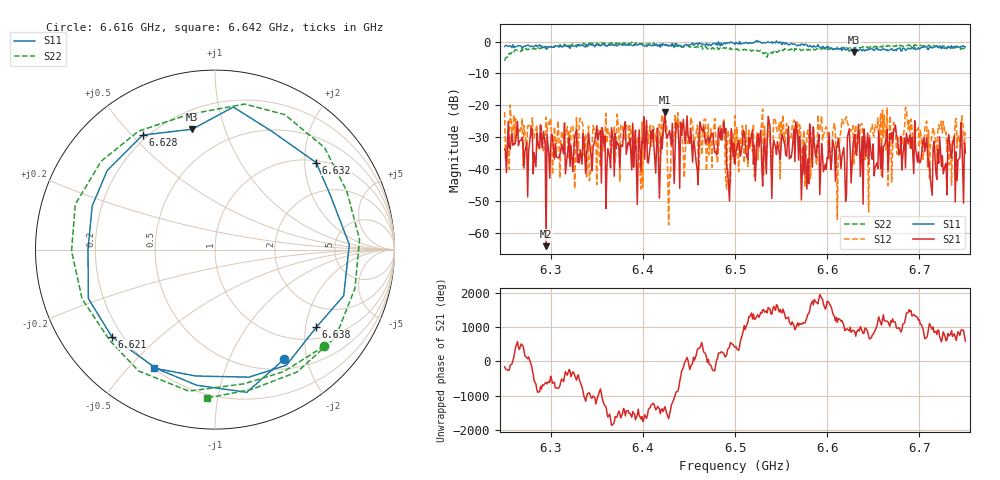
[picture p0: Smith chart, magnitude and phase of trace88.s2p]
# Hz S RI R 50
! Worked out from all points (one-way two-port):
!   401 points, 6.25 GHz to 6.75 GHz, reference 50 ohm
!   highest |S21| = -22.04 dB at 6.424 GHz (marker M1); lowest = -64.1 dB at 6.295 GHz (marker M2)
!   lowest |S11| = -3.3 dB at 6.629 GHz (marker M3), VSWR 5.30, Z = 15.5 + j39 ohm
!   |S11| at or under -10 dB: nowhere
!   |S22| runs from -6.0 to -0.2 dB; largest |S21 - S12| = 0.13
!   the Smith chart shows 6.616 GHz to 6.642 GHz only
!   S11 on the Smith chart (normalised r, x): 6.616 GHz: 0.64, -1.63; 6.621 GHz: 0.16, -0.36; 6.628 GHz: 0.18, +0.54; 6.632 GHz: 1.05, +2.28; 6.638 GHz: 1.31, -2.30; 6.642 GHz: 0.20, -0.59
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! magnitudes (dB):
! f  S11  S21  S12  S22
! 6.25 GHz  -1.6  -33.6  -22.0  -6.0
! 6.295 GHz  -2.4  -64.1  -23.7  -1.9
! 6.334 GHz  -1.0  -38.4  -25.1  -0.5
! 6.341 GHz  -0.7  -28.9  -26.5  -0.7
! 6.418 GHz  -1.0  -49.1  -25.9  -1.5
! 6.424 GHz  -1.1  -22.0  -25.5  -1.2
! 6.43 GHz  -1.1  -30.3  -42.5  -1.2
! 6.438 GHz  -1.1  -26.3  -22.3  -1.5
! 6.5 GHz  -0.9  -38.4  -23.2  -2.2
! 6.569 GHz  -1.0  -37.2  -30.9  -2.3
! 6.575 GHz  -1.2  -41.6  -27.8  -2.6
! 6.584 GHz  -1.7  -39.3  -28.6  -2.5
! 6.611 GHz  -2.1  -33.1  -55.7  -1.8
! 6.616 GHz  -2.8  -36.1  -24.4  -1.8
! 6.621 GHz  -2.5  -47.8  -23.5  -1.9
! 6.628 GHz  -2.4  -33.3  -26.3  -1.9
! 6.629 GHz  -3.3  -30.2  -38.6  -2.1
! 6.632 GHz  -2.6  -35.6  -33.3  -1.4
! 6.638 GHz  -3.0  -29.8  -25.8  -1.8
! 6.642 GHz  -2.6  -36.0  -33.7  -1.6
! 6.668 GHz  -2.6  -28.8  -23.3  -1.4
! 6.75 GHz  -1.6  -34.9  -28.5  -2.2
